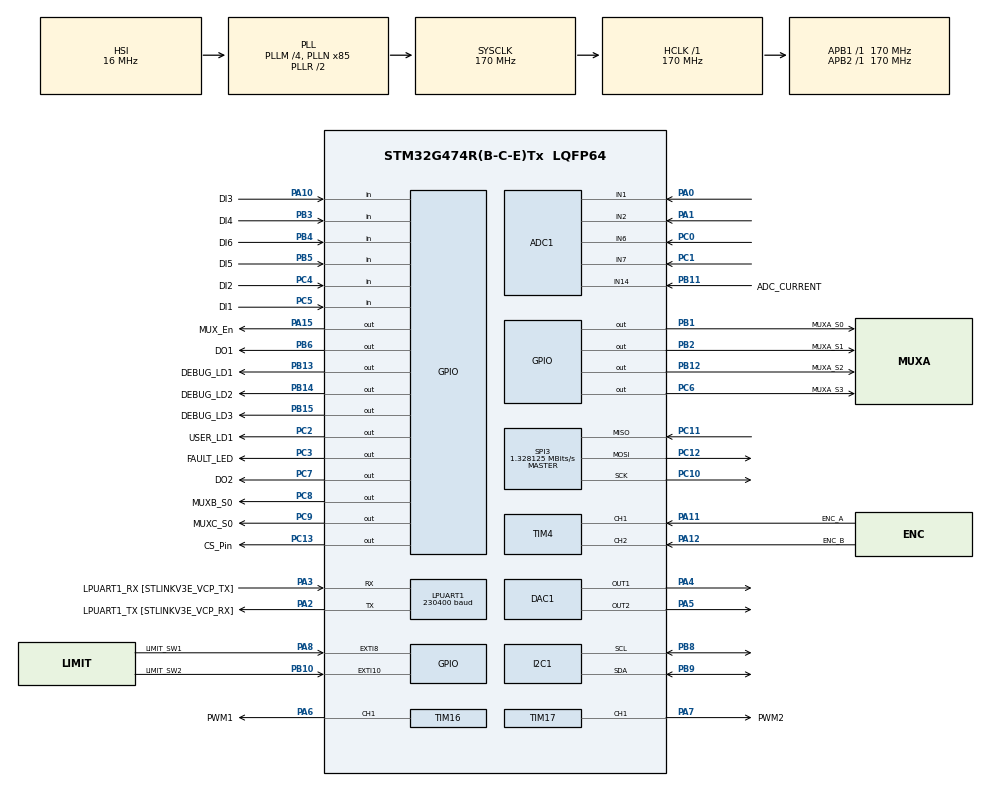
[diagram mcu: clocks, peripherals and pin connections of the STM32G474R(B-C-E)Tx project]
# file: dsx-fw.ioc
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ADC1.Channel-10\#ChannelRegularConversion=ADC_CHANNEL_14
ADC1.Channel-11\#ChannelRegularConversion=ADC_CHANNEL_TEMPSENSOR_ADC1
ADC1.Channel-6\#ChannelRegularConversion=ADC_CHANNEL_1
ADC1.Channel-7\#ChannelRegularConversion=ADC_CHANNEL_2
ADC1.Channel-8\#ChannelRegularConversion=ADC_CHANNEL_6
ADC1.Channel-9\#ChannelRegularConversion=ADC_CHANNEL_7
ADC1.ContinuousConvMode=ENABLE
ADC1.DMAContinuousRequests=ENABLE
ADC1.NbrOfConversion=6
ADC1.NbrOfConversionFlag=1
ADC1.OffsetNumber-10\#ChannelRegularConversion=ADC_OFFSET_NONE
ADC1.OffsetNumber-11\#ChannelRegularConversion=ADC_OFFSET_NONE
ADC1.OffsetNumber-6\#ChannelRegularConversion=ADC_OFFSET_NONE
ADC1.OffsetNumber-7\#ChannelRegularConversion=ADC_OFFSET_NONE
ADC1.OffsetNumber-8\#ChannelRegularConversion=ADC_OFFSET_NONE
ADC1.OffsetNumber-9\#ChannelRegularConversion=ADC_OFFSET_NONE
ADC1.OversamplingMode=ENABLE
ADC1.Rank-10\#ChannelRegularConversion=5
ADC1.Rank-11\#ChannelRegularConversion=6
ADC1.Rank-6\#ChannelRegularConversion=1
ADC1.Rank-7\#ChannelRegularConversion=2
ADC1.Rank-8\#ChannelRegularConversion=3
ADC1.Rank-9\#ChannelRegularConversion=4
ADC1.SamplingTime-10\#ChannelRegularConversion=ADC_SAMPLETIME_47CYCLES_5
ADC1.SamplingTime-11\#ChannelRegularConversion=ADC_SAMPLETIME_47CYCLES_5
ADC1.SamplingTime-6\#ChannelRegularConversion=ADC_SAMPLETIME_47CYCLES_5
ADC1.SamplingTime-7\#ChannelRegularConversion=ADC_SAMPLETIME_47CYCLES_5
ADC1.SamplingTime-8\#ChannelRegularConversion=ADC_SAMPLETIME_47CYCLES_5
ADC1.SamplingTime-9\#ChannelRegularConversion=ADC_SAMPLETIME_47CYCLES_5
ADC1.master=1
DAC1.DAC_Channel-DAC_OUT2=DAC_CHANNEL_2
DAC1.DAC_OutputBuffer-DAC_OUT1=DAC_OUTPUTBUFFER_ENABLE
Dma.ADC1.2.Direction=DMA_PERIPH_TO_MEMORY
Dma.ADC1.2.EventEnable=DISABLE
Dma.ADC1.2.Instance=DMA1_Channel3
Dma.ADC1.2.MemDataAlignment=DMA_MDATAALIGN_WORD
Dma.ADC1.2.MemInc=DMA_MINC_ENABLE
Dma.ADC1.2.Mode=DMA_CIRCULAR
Dma.ADC1.2.PeriphDataAlignment=DMA_PDATAALIGN_WORD
Dma.ADC1.2.PeriphInc=DMA_PINC_DISABLE
Dma.ADC1.2.Polarity=HAL_DMAMUX_REQ_GEN_RISING
Dma.ADC1.2.Priority=DMA_PRIORITY_LOW
Dma.ADC1.2.RequestNumber=1
Dma.ADC1.2.SignalID=NONE
Dma.ADC1.2.SyncEnable=DISABLE
Dma.ADC1.2.SyncPolarity=HAL_DMAMUX_SYNC_NO_EVENT
Dma.ADC1.2.SyncRequestNumber=1
Dma.ADC1.2.SyncSignalID=NONE
Dma.LPUART1_RX.0.Direction=DMA_PERIPH_TO_MEMORY
Dma.LPUART1_RX.0.EventEnable=DISABLE
Dma.LPUART1_RX.0.Instance=DMA1_Channel1
Dma.LPUART1_RX.0.MemDataAlignment=DMA_MDATAALIGN_BYTE
Dma.LPUART1_RX.0.MemInc=DMA_MINC_ENABLE
Dma.LPUART1_RX.0.Mode=DMA_CIRCULAR
Dma.LPUART1_RX.0.PeriphDataAlignment=DMA_PDATAALIGN_BYTE
Dma.LPUART1_RX.0.PeriphInc=DMA_PINC_DISABLE
Dma.LPUART1_RX.0.Polarity=HAL_DMAMUX_REQ_GEN_RISING
Dma.LPUART1_RX.0.Priority=DMA_PRIORITY_LOW
Dma.LPUART1_RX.0.RequestNumber=1
Dma.LPUART1_RX.0.SignalID=NONE
Dma.LPUART1_RX.0.SyncEnable=DISABLE
Dma.LPUART1_RX.0.SyncPolarity=HAL_DMAMUX_SYNC_NO_EVENT
Dma.LPUART1_RX.0.SyncRequestNumber=1
Dma.LPUART1_RX.0.SyncSignalID=NONE
Dma.LPUART1_TX.1.Direction=DMA_MEMORY_TO_PERIPH
Dma.LPUART1_TX.1.EventEnable=DISABLE
Dma.LPUART1_TX.1.Instance=DMA1_Channel2
Dma.LPUART1_TX.1.MemDataAlignment=DMA_MDATAALIGN_BYTE
Dma.LPUART1_TX.1.MemInc=DMA_MINC_ENABLE
Dma.LPUART1_TX.1.Mode=DMA_NORMAL
Dma.LPUART1_TX.1.PeriphDataAlignment=DMA_PDATAALIGN_BYTE
Dma.LPUART1_TX.1.PeriphInc=DMA_PINC_DISABLE
Dma.LPUART1_TX.1.Polarity=HAL_DMAMUX_REQ_GEN_RISING
Dma.LPUART1_TX.1.Priority=DMA_PRIORITY_LOW
Dma.LPUART1_TX.1.RequestNumber=1
Dma.LPUART1_TX.1.SignalID=NONE
Dma.LPUART1_TX.1.SyncEnable=DISABLE
Dma.LPUART1_TX.1.SyncPolarity=HAL_DMAMUX_SYNC_NO_EVENT
Dma.LPUART1_TX.1.SyncRequestNumber=1
Dma.LPUART1_TX.1.SyncSignalID=NONE
Dma.Request0=LPUART1_RX
Dma.Request1=LPUART1_TX
Dma.Request2=ADC1
I2C1.Timing=0x30A0A7FB
LPUART1.BaudRate=230400
LPUART1.WordLength=UART_WORDLENGTH_8B
Mcu.Family=STM32G4
Mcu.Name=STM32G474R(B-C-E)Tx
Mcu.Package=LQFP64
NVIC.DMA1_Channel1_IRQn=true\:0\:0\:false\:false\:true\:false\:true
NVIC.DMA1_Channel2_IRQn=true\:0\:0\:false\:false\:true\:false\:true
NVIC.DMA1_Channel3_IRQn=true\:0\:0\:false\:false\:true\:false\:true
NVIC.EXTI15_10_IRQn=true\:0\:0\:false\:false\:true\:true\:true
NVIC.EXTI9_5_IRQn=true\:0\:0\:false\:false\:true\:true\:true
NVIC.LPUART1_IRQn=true\:0\:0\:false\:false\:true\:true\:true
NVIC.PriorityGroup=NVIC_PRIORITYGROUP_4
NVIC.TIM2_IRQn=true\:0\:0\:false\:false\:true\:true\:true
NVIC.TIM5_IRQn=true\:0\:0\:false\:false\:true\:true\:true
NVIC.TIM7_DAC_IRQn=true\:0\:0\:false\:false\:true\:true\:true
PA0.Mode=IN1-Single-Ended
PA0.Signal=ADC1_IN1
PA1.Mode=IN2-Single-Ended
PA1.Signal=ADC1_IN2
PA10.GPIO_Label=DI3
PA10.Signal=GPIO_Input
PA11.GPIO_Label=ENC_A
PA11.Signal=S_TIM4_CH1
PA12.GPIO_Label=ENC_B
PA12.Signal=S_TIM4_CH2
PA13.GPIO_Label=T_SWDIO
PA13.Mode=Serial_Wire
PA13.Signal=SYS_JTMS-SWDIO
PA14.GPIO_Label=T_SWCLK
PA14.Mode=Serial_Wire
PA14.Signal=SYS_JTCK-SWCLK
PA15.GPIO_Label=MUX_En
PA15.Signal=GPIO_Output
PA2.GPIO_Label=LPUART1_TX [STLINKV3E_VCP_RX]
PA2.Mode=Asynchronous
PA2.Signal=LPUART1_TX
PA3.GPIO_Label=LPUART1_RX [STLINKV3E_VCP_TX]
PA3.Mode=Asynchronous
PA3.Signal=LPUART1_RX
PA4.Signal=COMP_DAC11_group
PA5.Signal=COMP_DAC12_group
PA6.GPIO_Label=PWM1
PA6.Signal=S_TIM16_CH1
PA7.GPIO_Label=PWM2
PA7.Signal=S_TIM17_CH1
PA8.GPIO_Label=LIMIT_SW1
PA8.GPIO_PuPd=GPIO_PULLDOWN
PA8.Signal=GPXTI8
PB1.GPIO_Label=MUXA_S0
PB1.Signal=GPIO_Output
PB10.GPIO_Label=LIMIT_SW2
PB10.GPIO_PuPd=GPIO_PULLDOWN
PB10.Signal=GPXTI10
PB11.GPIO_Label=ADC_CURRENT
PB11.Mode=IN14-Single-Ended
PB11.Signal=ADC1_IN14
PB12.GPIO_Label=MUXA_S2
PB12.Signal=GPIO_Output
PB13.GPIO_Label=DEBUG_LD1
PB13.Signal=GPIO_Output
PB14.GPIO_Label=DEBUG_LD2
PB14.Signal=GPIO_Output
PB15.GPIO_Label=DEBUG_LD3
PB15.Signal=GPIO_Output
PB2.GPIO_Label=MUXA_S1
PB2.Signal=GPIO_Output
PB3.GPIO_Label=DI4
PB3.Signal=GPIO_Input
PB4.GPIO_Label=DI6
PB4.Signal=GPIO_Input
PB5.GPIO_Label=DI5
PB5.Signal=GPIO_Input
PB6.GPIO_Label=DO1
PB6.Signal=GPIO_Output
PB8-BOOT0.Mode=I2C
PB8-BOOT0.Signal=I2C1_SCL
PB9.Mode=I2C
PB9.Signal=I2C1_SDA
PC0.Mode=IN6-Single-Ended
PC0.Signal=ADC1_IN6
PC1.Mode=IN7-Single-Ended
PC1.Signal=ADC1_IN7
PC10.Mode=Full_Duplex_Master
PC10.Signal=SPI3_SCK
PC11.Mode=Full_Duplex_Master
PC11.Signal=SPI3_MISO
PC12.Mode=Full_Duplex_Master
PC12.Signal=SPI3_MOSI
PC13.GPIO_Label=CS_Pin
PC13.GPIO_PuPd=GPIO_NOPULL
PC13.Signal=GPIO_Output
PC14-OSC32_IN.Mode=LSE-External-Oscillator
PC14-OSC32_IN.Signal=RCC_OSC32_IN
PC15-OSC32_OUT.Mode=LSE-External-Oscillator
PC15-OSC32_OUT.Signal=RCC_OSC32_OUT
PC2.GPIO_Label=USER_LD1
PC2.Signal=GPIO_Output
PC3.GPIO_Label=FAULT_LED
PC3.Signal=GPIO_Output
PC4.GPIO_Label=DI2
PC4.Signal=GPIO_Input
PC5.GPIO_Label=DI1
PC5.Signal=GPIO_Input
PC6.GPIO_Label=MUXA_S3
PC6.Signal=GPIO_Output
PC7.GPIO_Label=DO2
PC7.Signal=GPIO_Output
PC8.GPIO_Label=MUXB_S0
PC8.Signal=GPIO_Output
PC9.GPIO_Label=MUXC_S0
PC9.Signal=GPIO_Output
PF0-OSC_IN.Mode=HSE-External-Oscillator
PF0-OSC_IN.Signal=RCC_OSC_IN
PF1-OSC_OUT.Mode=HSE-External-Oscillator
PF1-OSC_OUT.Signal=RCC_OSC_OUT
ProjectManager.HeapSize=0x200
ProjectManager.StackSize=0x400
ProjectManager.TargetToolchain=STM32CubeIDE
RCC.ADC12Freq_Value=170000000
RCC.ADC345Freq_Value=170000000
RCC.AHBFreq_Value=170000000
RCC.APB1Freq_Value=170000000
RCC.APB1TimFreq_Value=170000000
RCC.APB2Freq_Value=170000000
RCC.APB2TimFreq_Value=170000000
RCC.CortexFreq_Value=170000000
RCC.EXTERNAL_CLOCK_VALUE=12288000
RCC.HCLKFreq_Value=170000000
RCC.HSE_VALUE=24000000
RCC.HSI48_VALUE=48000000
RCC.HSI_VALUE=16000000
RCC.LPUART1CLockSelection=RCC_LPUART1CLKSOURCE_SYSCLK
RCC.PLLM=RCC_PLLM_DIV4
RCC.PLLN=85
RCC.RTCClockSelection=RCC_RTCCLKSOURCE_LSE
RCC.SYSCLKFreq_VALUE=170000000
RCC.SYSCLKSource=RCC_SYSCLKSOURCE_PLLCLK
RCC.USBFreq_Value=170000000
RCC.VCOOutputFreq_Value=340000000
SH.COMP_DAC11_group.0=DAC1_OUT1,DAC_OUT1
SH.COMP_DAC12_group.0=DAC1_OUT2,DAC_OUT2
SH.S_TIM16_CH1.0=TIM16_CH1,PWM Generation1 CH1
SH.S_TIM17_CH1.0=TIM17_CH1,PWM Generation1 CH1
SH.S_TIM4_CH1.0=TIM4_CH1,Encoder_Interface
SH.S_TIM4_CH2.0=TIM4_CH2,Encoder_Interface
SPI3.BaudRatePrescaler=SPI_BAUDRATEPRESCALER_128
SPI3.CalculateBaudRate=1.328125 MBits/s
SPI3.DataSize=SPI_DATASIZE_8BIT
SPI3.Direction=SPI_DIRECTION_2LINES
SPI3.Mode=SPI_MODE_MASTER
SPI3.VirtualType=VM_MASTER
TIM16.Channel=TIM_CHANNEL_1
TIM16.PeriodNoDither=100-1
TIM17.Channel=TIM_CHANNEL_1
TIM17.PeriodNoDither=100-1
TIM2.PeriodNoDither=10000-1
TIM2.Prescaler=170-1
TIM2.TIM_MasterOutputTrigger=TIM_TRGO_RESET
TIM5.PeriodNoDither=2500-1
TIM5.Prescaler=170-1
TIM7.PeriodNoDither=25000-1
TIM7.Prescaler=1700-1
VP_ADC1_TempSens_Input.Mode=IN-TempSens
VP_SYS_VS_DBSignals.Mode=DisableDeadBatterySignals
VP_TIM16_VS_ClockSourceINT.Mode=Enable_Timer
VP_TIM17_VS_ClockSourceINT.Mode=Enable_Timer
VP_TIM2_VS_ClockSourceINT.Mode=Internal
VP_TIM5_VS_ClockSourceINT.Mode=Internal
VP_TIM7_VS_ClockSourceINT.Mode=Enable_Timer
board=NUCLEO-G474RE

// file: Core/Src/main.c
/* USER CODE BEGIN Header */
/**
 ******************************************************************************
 * @file           : main.c
 * @brief          : Main program body
 ******************************************************************************
 * @attention
 *
 * <h2><center>&copy; Copyright (c) 2021 STMicroelectronics.
 * All rights reserved.</center></h2>
 *
 * This software component is licensed by ST under BSD 3-Clause license,
 * the "License"; You may not use this file except in compliance with the
 * License. You may obtain a copy of the License at:
 *                        opensource.org/licenses/BSD-3-Clause
 *
 ******************************************************************************
 */
/* USER CODE END Header */
#include "main.h"

/* USER CODE BEGIN Includes */
#include "serial.h"
#include "dsx_data_structure.h"
#include "command.h"
#include "channel.h"
#include "validate.h"
#include "PWM.h"
#include <stdbool.h>
#include "adc.h"
#include "DAC.h"
#include <stdint.h>
#include "safety.h"
#include "board_defines.h"
#include "Encoder.h"
#include "i2c.h"
#include "Servo.h"
#include "SPI.h"

/* USER CODE END Includes */

ADC_HandleTypeDef hadc1;
DMA_HandleTypeDef hdma_adc1;

DAC_HandleTypeDef hdac1;

I2C_HandleTypeDef hi2c1;

UART_HandleTypeDef hlpuart1;
DMA_HandleTypeDef hdma_lpuart1_rx;
DMA_HandleTypeDef hdma_lpuart1_tx;

SPI_HandleTypeDef hspi3;

TIM_HandleTypeDef htim2;
TIM_HandleTypeDef htim4;
TIM_HandleTypeDef htim5;
TIM_HandleTypeDef htim7;
TIM_HandleTypeDef htim16;
TIM_HandleTypeDef htim17;

/* USER CODE BEGIN PV */
extern uint8_t state;
/* USER CODE END PV */

void SystemClock_Config(void);
static void MX_GPIO_Init(void);
static void MX_DMA_Init(void);
static void MX_LPUART1_UART_Init(void);
static void MX_DAC1_Init(void);
static void MX_TIM16_Init(void);
static void MX_TIM17_Init(void);
static void MX_ADC1_Init(void);
static void MX_SPI3_Init(void);
static void MX_I2C1_Init(void);
static void MX_TIM4_Init(void);
static void MX_TIM2_Init(void);
static void MX_TIM5_Init(void);
static void MX_TIM7_Init(void);

/* USER CODE BEGIN 0 */

// github aye
extern bool serial_available;

/* USER CODE END 0 */

int main(void)
{
  /* USER CODE BEGIN 1 */

	// Initialize DSX data structure
	volatile DSX_data_t dsx_data;
	DSX_data_init(&dsx_data);
  /* USER CODE END 1 */

  /* MCU Configuration--------------------------------------------------------*/

  /* Reset of all peripherals, Initializes the Flash interface and the Systick. */
  HAL_Init();

  /* Configure the system clock */
  SystemClock_Config();

  /* Initialize all configured peripherals */
  MX_GPIO_Init();
  MX_DMA_Init();
  MX_LPUART1_UART_Init();
  MX_DAC1_Init();
  MX_TIM16_Init();
  MX_TIM17_Init();
  MX_ADC1_Init();
  MX_SPI3_Init();
  MX_I2C1_Init();
  MX_TIM4_Init();
  MX_TIM2_Init();
  MX_TIM5_Init();
  MX_TIM7_Init();
  /* USER CODE BEGIN 2 */

	// Initialize PWM driver
	initPWM();

	// Receive Serial and store into buffer
	Serial_Receive_DMA();

	// Start ADC
	Start_ADC();

	// Start DAC
	DAC_init();

	// init safety driver
	safety_init();

	// Start encoder driver
	Encoder_Start();

	// Start SPI
	SPI_Init();

  // Start I2C Driver
	I2C_Init();

  /* USER CODE END 2 */

  /* Infinite loop */
	while (1)
	{

    /* USER CODE BEGIN 3 */
		while(state==STATE_NORMAL)
		{

			if(serial_available)
			{
				// update dsx data based on received buffer
				parse_buffer_to_dsx_data(&dsx_data);

				// execute commands
				execute_command(&dsx_data);
			}

		}

		// Error Handler. If we enter here, then a fault occured.
		Error_Handler();

	}
  /* USER CODE END 3 */
}

void SystemClock_Config(void)
{
  RCC_OscInitTypeDef RCC_OscInitStruct = {0};
  RCC_ClkInitTypeDef RCC_ClkInitStruct = {0};
  RCC_PeriphCLKInitTypeDef PeriphClkInit = {0};

  /** Configure the main internal regulator output voltage
  */
  HAL_PWREx_ControlVoltageScaling(PWR_REGULATOR_VOLTAGE_SCALE1_BOOST);
  /** Initializes the RCC Oscillators according to the specified parameters
  * in the RCC_OscInitTypeDef structure.
  */
  RCC_OscInitStruct.OscillatorType = RCC_OSCILLATORTYPE_HSI;
  RCC_OscInitStruct.HSIState = RCC_HSI_ON;
  RCC_OscInitStruct.HSICalibrationValue = RCC_HSICALIBRATION_DEFAULT;
  RCC_OscInitStruct.PLL.PLLState = RCC_PLL_ON;
  RCC_OscInitStruct.PLL.PLLSource = RCC_PLLSOURCE_HSI;
  RCC_OscInitStruct.PLL.PLLM = RCC_PLLM_DIV4;
  RCC_OscInitStruct.PLL.PLLN = 85;
  RCC_OscInitStruct.PLL.PLLP = RCC_PLLP_DIV2;
  RCC_OscInitStruct.PLL.PLLQ = RCC_PLLQ_DIV2;
  RCC_OscInitStruct.PLL.PLLR = RCC_PLLR_DIV2;
  if (HAL_RCC_OscConfig(&RCC_OscInitStruct) != HAL_OK)
  {
    Error_Handler();
  }
  /** Initializes the CPU, AHB and APB buses clocks
  */
  RCC_ClkInitStruct.ClockType = RCC_CLOCKTYPE_HCLK|RCC_CLOCKTYPE_SYSCLK
                              |RCC_CLOCKTYPE_PCLK1|RCC_CLOCKTYPE_PCLK2;
  RCC_ClkInitStruct.SYSCLKSource = RCC_SYSCLKSOURCE_PLLCLK;
  RCC_ClkInitStruct.AHBCLKDivider = RCC_SYSCLK_DIV1;
  RCC_ClkInitStruct.APB1CLKDivider = RCC_HCLK_DIV1;
  RCC_ClkInitStruct.APB2CLKDivider = RCC_HCLK_DIV1;

  if (HAL_RCC_ClockConfig(&RCC_ClkInitStruct, FLASH_LATENCY_4) != HAL_OK)
  {
    Error_Handler();
  }
  /** Initializes the peripherals clocks
  */
  PeriphClkInit.PeriphClockSelection = RCC_PERIPHCLK_LPUART1|RCC_PERIPHCLK_I2C1
                              |RCC_PERIPHCLK_ADC12;
  PeriphClkInit.Lpuart1ClockSelection = RCC_LPUART1CLKSOURCE_SYSCLK;
  PeriphClkInit.I2c1ClockSelection = RCC_I2C1CLKSOURCE_PCLK1;
  PeriphClkInit.Adc12ClockSelection = RCC_ADC12CLKSOURCE_SYSCLK;
  if (HAL_RCCEx_PeriphCLKConfig(&PeriphClkInit) != HAL_OK)
  {
    Error_Handler();
  }
}

static void MX_ADC1_Init(void)
{

  ADC_MultiModeTypeDef multimode = {0};
  ADC_ChannelConfTypeDef sConfig = {0};

  /** Common config
  */
  hadc1.Instance = ADC1;
  hadc1.Init.ClockPrescaler = ADC_CLOCK_SYNC_PCLK_DIV4;
  hadc1.Init.Resolution = ADC_RESOLUTION_12B;
  hadc1.Init.DataAlign = ADC_DATAALIGN_RIGHT;
  hadc1.Init.GainCompensation = 0;
  hadc1.Init.ScanConvMode = ADC_SCAN_ENABLE;
  hadc1.Init.EOCSelection = ADC_EOC_SINGLE_CONV;
  hadc1.Init.LowPowerAutoWait = DISABLE;
  hadc1.Init.ContinuousConvMode = ENABLE;
  hadc1.Init.NbrOfConversion = 6;
  hadc1.Init.DiscontinuousConvMode = DISABLE;
  hadc1.Init.ExternalTrigConv = ADC_SOFTWARE_START;
  hadc1.Init.ExternalTrigConvEdge = ADC_EXTERNALTRIGCONVEDGE_NONE;
  hadc1.Init.DMAContinuousRequests = ENABLE;
  hadc1.Init.Overrun = ADC_OVR_DATA_PRESERVED;
  hadc1.Init.OversamplingMode = ENABLE;
  hadc1.Init.Oversampling.Ratio = ADC_OVERSAMPLING_RATIO_2;
  hadc1.Init.Oversampling.RightBitShift = ADC_RIGHTBITSHIFT_NONE;
  hadc1.Init.Oversampling.TriggeredMode = ADC_TRIGGEREDMODE_SINGLE_TRIGGER;
  hadc1.Init.Oversampling.OversamplingStopReset = ADC_REGOVERSAMPLING_CONTINUED_MODE;
  if (HAL_ADC_Init(&hadc1) != HAL_OK)
  {
    Error_Handler();
  }
  /** Configure the ADC multi-mode
  */
  multimode.Mode = ADC_MODE_INDEPENDENT;
  if (HAL_ADCEx_MultiModeConfigChannel(&hadc1, &multimode) != HAL_OK)
  {
    Error_Handler();
  }
  /** Configure Regular Channel
  */
  sConfig.Channel = ADC_CHANNEL_1;
  sConfig.Rank = ADC_REGULAR_RANK_1;
  sConfig.SamplingTime = ADC_SAMPLETIME_47CYCLES_5;
  sConfig.SingleDiff = ADC_SINGLE_ENDED;
  sConfig.OffsetNumber = ADC_OFFSET_NONE;
  sConfig.Offset = 0;
  if (HAL_ADC_ConfigChannel(&hadc1, &sConfig) != HAL_OK)
  {
    Error_Handler();
  }
  /** Configure Regular Channel
  */
  sConfig.Channel = ADC_CHANNEL_2;
  sConfig.Rank = ADC_REGULAR_RANK_2;
  if (HAL_ADC_ConfigChannel(&hadc1, &sConfig) != HAL_OK)
  {
    Error_Handler();
  }
  /** Configure Regular Channel
  */
  sConfig.Channel = ADC_CHANNEL_6;
  sConfig.Rank = ADC_REGULAR_RANK_3;
  if (HAL_ADC_ConfigChannel(&hadc1, &sConfig) != HAL_OK)
  {
    Error_Handler();
  }
  /** Configure Regular Channel
  */
  sConfig.Channel = ADC_CHANNEL_7;
  sConfig.Rank = ADC_REGULAR_RANK_4;
  if (HAL_ADC_ConfigChannel(&hadc1, &sConfig) != HAL_OK)
  {
    Error_Handler();
  }
  /** Configure Regular Channel
  */
  sConfig.Channel = ADC_CHANNEL_14;
  sConfig.Rank = ADC_REGULAR_RANK_5;
  if (HAL_ADC_ConfigChannel(&hadc1, &sConfig) != HAL_OK)
  {
    Error_Handler();
  }
  /** Configure Regular Channel
  */
  sConfig.Channel = ADC_CHANNEL_TEMPSENSOR_ADC1;
  sConfig.Rank = ADC_REGULAR_RANK_6;
  if (HAL_ADC_ConfigChannel(&hadc1, &sConfig) != HAL_OK)
  {
    Error_Handler();
  }

}

static void MX_DAC1_Init(void)
{

  DAC_ChannelConfTypeDef sConfig = {0};

  /** DAC Initialization
  */
  hdac1.Instance = DAC1;
  if (HAL_DAC_Init(&hdac1) != HAL_OK)
  {
    Error_Handler();
  }
  /** DAC channel OUT1 config
  */
  sConfig.DAC_HighFrequency = DAC_HIGH_FREQUENCY_INTERFACE_MODE_AUTOMATIC;
  sConfig.DAC_DMADoubleDataMode = DISABLE;
  sConfig.DAC_SignedFormat = DISABLE;
  sConfig.DAC_SampleAndHold = DAC_SAMPLEANDHOLD_DISABLE;
  sConfig.DAC_Trigger = DAC_TRIGGER_NONE;
  sConfig.DAC_Trigger2 = DAC_TRIGGER_NONE;
  sConfig.DAC_OutputBuffer = DAC_OUTPUTBUFFER_ENABLE;
  sConfig.DAC_ConnectOnChipPeripheral = DAC_CHIPCONNECT_EXTERNAL;
  sConfig.DAC_UserTrimming = DAC_TRIMMING_FACTORY;
  if (HAL_DAC_ConfigChannel(&hdac1, &sConfig, DAC_CHANNEL_1) != HAL_OK)
  {
    Error_Handler();
  }
  /** DAC channel OUT2 config
  */
  sConfig.DAC_ConnectOnChipPeripheral = DAC_CHIPCONNECT_EXTERNAL;
  if (HAL_DAC_ConfigChannel(&hdac1, &sConfig, DAC_CHANNEL_2) != HAL_OK)
  {
    Error_Handler();
  }

}

static void MX_I2C1_Init(void)
{

  hi2c1.Instance = I2C1;
  hi2c1.Init.Timing = 0x30A0A7FB;
  hi2c1.Init.OwnAddress1 = 0;
  hi2c1.Init.AddressingMode = I2C_ADDRESSINGMODE_7BIT;
  hi2c1.Init.DualAddressMode = I2C_DUALADDRESS_DISABLE;
  hi2c1.Init.OwnAddress2 = 0;
  hi2c1.Init.OwnAddress2Masks = I2C_OA2_NOMASK;
  hi2c1.Init.GeneralCallMode = I2C_GENERALCALL_DISABLE;
  hi2c1.Init.NoStretchMode = I2C_NOSTRETCH_DISABLE;
  if (HAL_I2C_Init(&hi2c1) != HAL_OK)
  {
    Error_Handler();
  }
  /** Configure Analogue filter
  */
  if (HAL_I2CEx_ConfigAnalogFilter(&hi2c1, I2C_ANALOGFILTER_ENABLE) != HAL_OK)
  {
    Error_Handler();
  }
  /** Configure Digital filter
  */
  if (HAL_I2CEx_ConfigDigitalFilter(&hi2c1, 0) != HAL_OK)
  {
    Error_Handler();
  }

}

static void MX_LPUART1_UART_Init(void)
{

  hlpuart1.Instance = LPUART1;
  hlpuart1.Init.BaudRate = 230400;
  hlpuart1.Init.WordLength = UART_WORDLENGTH_8B;
  hlpuart1.Init.StopBits = UART_STOPBITS_1;
  hlpuart1.Init.Parity = UART_PARITY_NONE;
  hlpuart1.Init.Mode = UART_MODE_TX_RX;
  hlpuart1.Init.HwFlowCtl = UART_HWCONTROL_NONE;
  hlpuart1.Init.OneBitSampling = UART_ONE_BIT_SAMPLE_DISABLE;
  hlpuart1.Init.ClockPrescaler = UART_PRESCALER_DIV1;
  hlpuart1.AdvancedInit.AdvFeatureInit = UART_ADVFEATURE_NO_INIT;
  if (HAL_UART_Init(&hlpuart1) != HAL_OK)
  {
    Error_Handler();
  }
  if (HAL_UARTEx_SetTxFifoThreshold(&hlpuart1, UART_TXFIFO_THRESHOLD_1_8) != HAL_OK)
  {
    Error_Handler();
  }
  if (HAL_UARTEx_SetRxFifoThreshold(&hlpuart1, UART_RXFIFO_THRESHOLD_1_8) != HAL_OK)
  {
    Error_Handler();
  }
  if (HAL_UARTEx_DisableFifoMode(&hlpuart1) != HAL_OK)
  {
    Error_Handler();
  }

}

static void MX_SPI3_Init(void)
{

  /* SPI3 parameter configuration*/
  hspi3.Instance = SPI3;
  hspi3.Init.Mode = SPI_MODE_MASTER;
  hspi3.Init.Direction = SPI_DIRECTION_2LINES;
  hspi3.Init.DataSize = SPI_DATASIZE_8BIT;
  hspi3.Init.CLKPolarity = SPI_POLARITY_LOW;
  hspi3.Init.CLKPhase = SPI_PHASE_1EDGE;
  hspi3.Init.NSS = SPI_NSS_SOFT;
  hspi3.Init.BaudRatePrescaler = SPI_BAUDRATEPRESCALER_128;
  hspi3.Init.FirstBit = SPI_FIRSTBIT_MSB;
  hspi3.Init.TIMode = SPI_TIMODE_DISABLE;
  hspi3.Init.CRCCalculation = SPI_CRCCALCULATION_DISABLE;
  hspi3.Init.CRCPolynomial = 7;
  hspi3.Init.CRCLength = SPI_CRC_LENGTH_DATASIZE;
  hspi3.Init.NSSPMode = SPI_NSS_PULSE_ENABLE;
  if (HAL_SPI_Init(&hspi3) != HAL_OK)
  {
    Error_Handler();
  }

}

static void MX_TIM2_Init(void)
{

  TIM_ClockConfigTypeDef sClockSourceConfig = {0};
  TIM_MasterConfigTypeDef sMasterConfig = {0};

  htim2.Instance = TIM2;
  htim2.Init.Prescaler = 170-1;
  htim2.Init.CounterMode = TIM_COUNTERMODE_UP;
  htim2.Init.Period = 9999;
  htim2.Init.ClockDivision = TIM_CLOCKDIVISION_DIV1;
  htim2.Init.AutoReloadPreload = TIM_AUTORELOAD_PRELOAD_DISABLE;
  if (HAL_TIM_Base_Init(&htim2) != HAL_OK)
  {
    Error_Handler();
  }
  sClockSourceConfig.ClockSource = TIM_CLOCKSOURCE_INTERNAL;
  if (HAL_TIM_ConfigClockSource(&htim2, &sClockSourceConfig) != HAL_OK)
  {
    Error_Handler();
  }
  sMasterConfig.MasterOutputTrigger = TIM_TRGO_RESET;
  sMasterConfig.MasterSlaveMode = TIM_MASTERSLAVEMODE_DISABLE;
  if (HAL_TIMEx_MasterConfigSynchronization(&htim2, &sMasterConfig) != HAL_OK)
  {
    Error_Handler();
  }

}

static void MX_TIM4_Init(void)
{

  TIM_Encoder_InitTypeDef sConfig = {0};
  TIM_MasterConfigTypeDef sMasterConfig = {0};

  htim4.Instance = TIM4;
  htim4.Init.Prescaler = 0;
  htim4.Init.CounterMode = TIM_COUNTERMODE_UP;
  htim4.Init.Period = 65535;
  htim4.Init.ClockDivision = TIM_CLOCKDIVISION_DIV1;
  htim4.Init.AutoReloadPreload = TIM_AUTORELOAD_PRELOAD_DISABLE;
  sConfig.EncoderMode = TIM_ENCODERMODE_TI1;
  sConfig.IC1Polarity = TIM_ICPOLARITY_RISING;
  sConfig.IC1Selection = TIM_ICSELECTION_DIRECTTI;
  sConfig.IC1Prescaler = TIM_ICPSC_DIV1;
  sConfig.IC1Filter = 0;
  sConfig.IC2Polarity = TIM_ICPOLARITY_RISING;
  sConfig.IC2Selection = TIM_ICSELECTION_DIRECTTI;
  sConfig.IC2Prescaler = TIM_ICPSC_DIV1;
  sConfig.IC2Filter = 0;
  if (HAL_TIM_Encoder_Init(&htim4, &sConfig) != HAL_OK)
  {
    Error_Handler();
  }
  sMasterConfig.MasterOutputTrigger = TIM_TRGO_RESET;
  sMasterConfig.MasterSlaveMode = TIM_MASTERSLAVEMODE_DISABLE;
  if (HAL_TIMEx_MasterConfigSynchronization(&htim4, &sMasterConfig) != HAL_OK)
  {
    Error_Handler();
  }

}

static void MX_TIM5_Init(void)
{

  TIM_ClockConfigTypeDef sClockSourceConfig = {0};
  TIM_MasterConfigTypeDef sMasterConfig = {0};

  htim5.Instance = TIM5;
  htim5.Init.Prescaler = 170-1;
  htim5.Init.CounterMode = TIM_COUNTERMODE_UP;
  htim5.Init.Period = 2499;
  htim5.Init.ClockDivision = TIM_CLOCKDIVISION_DIV1;
  htim5.Init.AutoReloadPreload = TIM_AUTORELOAD_PRELOAD_DISABLE;
  if (HAL_TIM_Base_Init(&htim5) != HAL_OK)
  {
    Error_Handler();
  }
  sClockSourceConfig.ClockSource = TIM_CLOCKSOURCE_INTERNAL;
  if (HAL_TIM_ConfigClockSource(&htim5, &sClockSourceConfig) != HAL_OK)
  {
    Error_Handler();
  }
  sMasterConfig.MasterOutputTrigger = TIM_TRGO_RESET;
  sMasterConfig.MasterSlaveMode = TIM_MASTERSLAVEMODE_DISABLE;
  if (HAL_TIMEx_MasterConfigSynchronization(&htim5, &sMasterConfig) != HAL_OK)
  {
    Error_Handler();
  }

}

static void MX_TIM7_Init(void)
{

  TIM_MasterConfigTypeDef sMasterConfig = {0};

  htim7.Instance = TIM7;
  htim7.Init.Prescaler = 1700-1;
  htim7.Init.CounterMode = TIM_COUNTERMODE_UP;
  htim7.Init.Period = 24999;
  htim7.Init.AutoReloadPreload = TIM_AUTORELOAD_PRELOAD_DISABLE;
  if (HAL_TIM_Base_Init(&htim7) != HAL_OK)
  {
    Error_Handler();
  }
  sMasterConfig.MasterOutputTrigger = TIM_TRGO_RESET;
  sMasterConfig.MasterSlaveMode = TIM_MASTERSLAVEMODE_DISABLE;
  if (HAL_TIMEx_MasterConfigSynchronization(&htim7, &sMasterConfig) != HAL_OK)
  {
    Error_Handler();
  }

}

static void MX_TIM16_Init(void)
{

  TIM_OC_InitTypeDef sConfigOC = {0};
  TIM_BreakDeadTimeConfigTypeDef sBreakDeadTimeConfig = {0};

  htim16.Instance = TIM16;
  htim16.Init.Prescaler = 0;
  htim16.Init.CounterMode = TIM_COUNTERMODE_UP;
  htim16.Init.Period = 99;
  htim16.Init.ClockDivision = TIM_CLOCKDIVISION_DIV1;
  htim16.Init.RepetitionCounter = 0;
  htim16.Init.AutoReloadPreload = TIM_AUTORELOAD_PRELOAD_DISABLE;
  if (HAL_TIM_Base_Init(&htim16) != HAL_OK)
  {
    Error_Handler();
  }
  if (HAL_TIM_PWM_Init(&htim16) != HAL_OK)
  {
    Error_Handler();
  }
  sConfigOC.OCMode = TIM_OCMODE_PWM1;
  sConfigOC.Pulse = 0;
  sConfigOC.OCPolarity = TIM_OCPOLARITY_HIGH;
  sConfigOC.OCNPolarity = TIM_OCNPOLARITY_HIGH;
  sConfigOC.OCFastMode = TIM_OCFAST_DISABLE;
  sConfigOC.OCIdleState = TIM_OCIDLESTATE_RESET;
  sConfigOC.OCNIdleState = TIM_OCNIDLESTATE_RESET;
  if (HAL_TIM_PWM_ConfigChannel(&htim16, &sConfigOC, TIM_CHANNEL_1) != HAL_OK)
  {
    Error_Handler();
  }
  sBreakDeadTimeConfig.OffStateRunMode = TIM_OSSR_DISABLE;
  sBreakDeadTimeConfig.OffStateIDLEMode = TIM_OSSI_DISABLE;
  sBreakDeadTimeConfig.LockLevel = TIM_LOCKLEVEL_OFF;
  sBreakDeadTimeConfig.DeadTime = 0;
  sBreakDeadTimeConfig.BreakState = TIM_BREAK_DISABLE;
  sBreakDeadTimeConfig.BreakPolarity = TIM_BREAKPOLARITY_HIGH;
  sBreakDeadTimeConfig.BreakFilter = 0;
  sBreakDeadTimeConfig.AutomaticOutput = TIM_AUTOMATICOUTPUT_DISABLE;
  if (HAL_TIMEx_ConfigBreakDeadTime(&htim16, &sBreakDeadTimeConfig) != HAL_OK)
  {
    Error_Handler();
  }
  HAL_TIM_MspPostInit(&htim16);

}

static void MX_TIM17_Init(void)
{

  TIM_OC_InitTypeDef sConfigOC = {0};
  TIM_BreakDeadTimeConfigTypeDef sBreakDeadTimeConfig = {0};

  htim17.Instance = TIM17;
  htim17.Init.Prescaler = 0;
  htim17.Init.CounterMode = TIM_COUNTERMODE_UP;
  htim17.Init.Period = 99;
  htim17.Init.ClockDivision = TIM_CLOCKDIVISION_DIV1;
  htim17.Init.RepetitionCounter = 0;
  htim17.Init.AutoReloadPreload = TIM_AUTORELOAD_PRELOAD_DISABLE;
  if (HAL_TIM_Base_Init(&htim17) != HAL_OK)
  {
    Error_Handler();
  }
  if (HAL_TIM_PWM_Init(&htim17) != HAL_OK)
  {
    Error_Handler();
  }
  sConfigOC.OCMode = TIM_OCMODE_PWM1;
  sConfigOC.Pulse = 0;
  sConfigOC.OCPolarity = TIM_OCPOLARITY_HIGH;
  sConfigOC.OCNPolarity = TIM_OCNPOLARITY_HIGH;
  sConfigOC.OCFastMode = TIM_OCFAST_DISABLE;
  sConfigOC.OCIdleState = TIM_OCIDLESTATE_RESET;
  sConfigOC.OCNIdleState = TIM_OCNIDLESTATE_RESET;
  if (HAL_TIM_PWM_ConfigChannel(&htim17, &sConfigOC, TIM_CHANNEL_1) != HAL_OK)
  {
    Error_Handler();
  }
  sBreakDeadTimeConfig.OffStateRunMode = TIM_OSSR_DISABLE;
  sBreakDeadTimeConfig.OffStateIDLEMode = TIM_OSSI_DISABLE;
  sBreakDeadTimeConfig.LockLevel = TIM_LOCKLEVEL_OFF;
  sBreakDeadTimeConfig.DeadTime = 0;
  sBreakDeadTimeConfig.BreakState = TIM_BREAK_DISABLE;
  sBreakDeadTimeConfig.BreakPolarity = TIM_BREAKPOLARITY_HIGH;
  sBreakDeadTimeConfig.BreakFilter = 0;
  sBreakDeadTimeConfig.AutomaticOutput = TIM_AUTOMATICOUTPUT_DISABLE;
  if (HAL_TIMEx_ConfigBreakDeadTime(&htim17, &sBreakDeadTimeConfig) != HAL_OK)
  {
    Error_Handler();
  }
  HAL_TIM_MspPostInit(&htim17);

}

static void MX_DMA_Init(void)
{

  /* DMA controller clock enable */
  __HAL_RCC_DMAMUX1_CLK_ENABLE();
  __HAL_RCC_DMA1_CLK_ENABLE();

  /* DMA interrupt init */
  /* DMA1_Channel1_IRQn interrupt configuration */
  HAL_NVIC_SetPriority(DMA1_Channel1_IRQn, 0, 0);
  HAL_NVIC_EnableIRQ(DMA1_Channel1_IRQn);
  /* DMA1_Channel2_IRQn interrupt configuration */
  HAL_NVIC_SetPriority(DMA1_Channel2_IRQn, 0, 0);
  HAL_NVIC_EnableIRQ(DMA1_Channel2_IRQn);
  /* DMA1_Channel3_IRQn interrupt configuration */
  HAL_NVIC_SetPriority(DMA1_Channel3_IRQn, 0, 0);
  HAL_NVIC_EnableIRQ(DMA1_Channel3_IRQn);

}

static void MX_GPIO_Init(void)
{
  GPIO_InitTypeDef GPIO_InitStruct = {0};

  /* GPIO Ports Clock Enable */
  __HAL_RCC_GPIOC_CLK_ENABLE();
  __HAL_RCC_GPIOF_CLK_ENABLE();
  __HAL_RCC_GPIOA_CLK_ENABLE();
  __HAL_RCC_GPIOB_CLK_ENABLE();

  /*Configure GPIO pin Output Level */
  HAL_GPIO_WritePin(GPIOC, CS_Pin_Pin|USER_LD1_Pin|FAULT_LED_Pin|MUXA_S3_Pin
                          |DO2_Pin|MUXB_S0_Pin|MUXC_S0_Pin, GPIO_PIN_RESET);

  /*Configure GPIO pin Output Level */
  HAL_GPIO_WritePin(GPIOB, MUXA_S0_Pin|MUXA_S1_Pin|MUXA_S2_Pin|DEBUG_LD1_Pin
                          |DEBUG_LD2_Pin|DEBUG_LD3_Pin|DO1_Pin, GPIO_PIN_RESET);

  /*Configure GPIO pin Output Level */
  HAL_GPIO_WritePin(MUX_En_GPIO_Port, MUX_En_Pin, GPIO_PIN_RESET);

  /*Configure GPIO pins : CS_Pin_Pin USER_LD1_Pin FAULT_LED_Pin MUXA_S3_Pin
                           DO2_Pin MUXB_S0_Pin MUXC_S0_Pin */
  GPIO_InitStruct.Pin = CS_Pin_Pin|USER_LD1_Pin|FAULT_LED_Pin|MUXA_S3_Pin
                          |DO2_Pin|MUXB_S0_Pin|MUXC_S0_Pin;
  GPIO_InitStruct.Mode = GPIO_MODE_OUTPUT_PP;
  GPIO_InitStruct.Pull = GPIO_NOPULL;
  GPIO_InitStruct.Speed = GPIO_SPEED_FREQ_LOW;
  HAL_GPIO_Init(GPIOC, &GPIO_InitStruct);

  /*Configure GPIO pins : DI2_Pin DI1_Pin */
  GPIO_InitStruct.Pin = DI2_Pin|DI1_Pin;
  GPIO_InitStruct.Mode = GPIO_MODE_INPUT;
  GPIO_InitStruct.Pull = GPIO_NOPULL;
  HAL_GPIO_Init(GPIOC, &GPIO_InitStruct);

  /*Configure GPIO pins : MUXA_S0_Pin MUXA_S1_Pin MUXA_S2_Pin DEBUG_LD1_Pin
                           DEBUG_LD2_Pin DEBUG_LD3_Pin DO1_Pin */
  GPIO_InitStruct.Pin = MUXA_S0_Pin|MUXA_S1_Pin|MUXA_S2_Pin|DEBUG_LD1_Pin
                          |DEBUG_LD2_Pin|DEBUG_LD3_Pin|DO1_Pin;
  GPIO_InitStruct.Mode = GPIO_MODE_OUTPUT_PP;
  GPIO_InitStruct.Pull = GPIO_NOPULL;
  GPIO_InitStruct.Speed = GPIO_SPEED_FREQ_LOW;
  HAL_GPIO_Init(GPIOB, &GPIO_InitStruct);

  /*Configure GPIO pin : LIMIT_SW2_Pin */
  GPIO_InitStruct.Pin = LIMIT_SW2_Pin;
  GPIO_InitStruct.Mode = GPIO_MODE_IT_RISING;
  GPIO_InitStruct.Pull = GPIO_PULLDOWN;
  HAL_GPIO_Init(LIMIT_SW2_GPIO_Port, &GPIO_InitStruct);

  /*Configure GPIO pin : LIMIT_SW1_Pin */
  GPIO_InitStruct.Pin = LIMIT_SW1_Pin;
  GPIO_InitStruct.Mode = GPIO_MODE_IT_RISING;
  GPIO_InitStruct.Pull = GPIO_PULLDOWN;
  HAL_GPIO_Init(LIMIT_SW1_GPIO_Port, &GPIO_InitStruct);

  /*Configure GPIO pin : DI3_Pin */
  GPIO_InitStruct.Pin = DI3_Pin;
  GPIO_InitStruct.Mode = GPIO_MODE_INPUT;
  GPIO_InitStruct.Pull = GPIO_NOPULL;
  HAL_GPIO_Init(DI3_GPIO_Port, &GPIO_InitStruct);

  /*Configure GPIO pin : MUX_En_Pin */
  GPIO_InitStruct.Pin = MUX_En_Pin;
  GPIO_InitStruct.Mode = GPIO_MODE_OUTPUT_PP;
  GPIO_InitStruct.Pull = GPIO_NOPULL;
  GPIO_InitStruct.Speed = GPIO_SPEED_FREQ_LOW;
  HAL_GPIO_Init(MUX_En_GPIO_Port, &GPIO_InitStruct);

  /*Configure GPIO pins : DI4_Pin DI6_Pin DI5_Pin */
  GPIO_InitStruct.Pin = DI4_Pin|DI6_Pin|DI5_Pin;
  GPIO_InitStruct.Mode = GPIO_MODE_INPUT;
  GPIO_InitStruct.Pull = GPIO_NOPULL;
  HAL_GPIO_Init(GPIOB, &GPIO_InitStruct);

  /* EXTI interrupt init*/
  HAL_NVIC_SetPriority(EXTI9_5_IRQn, 0, 0);
  HAL_NVIC_EnableIRQ(EXTI9_5_IRQn);

  HAL_NVIC_SetPriority(EXTI15_10_IRQn, 0, 0);
  HAL_NVIC_EnableIRQ(EXTI15_10_IRQn);

}

void Error_Handler(void)
{
  /* USER CODE BEGIN Error_Handler_Debug */
	// DSX Fault Handler, returns SOS message to send to simulink
	DSX_Fault_Handler(state);
	HAL_Delay(20);

	/* User can add his own implementation to report the HAL error return state */
	__disable_irq();

	// Turn on front panel fault led
	HAL_GPIO_WritePin(FAULT_LED_GPIO_Port, FAULT_LED_Pin, 1);

	// Disable all outputs
	updateDutyCycle(htim16, 0);	// Disable PWM
    updateDutyCycle(htim17, 0); // Disable PWM
    HAL_GPIO_WritePin(DO1_GPIO_Port, DO1_Pin, 0); // Reset DO1
    HAL_GPIO_WritePin(DO2_GPIO_Port, DO2_Pin, 0); // Reset DO2
    DAC_write(2048, DAC1_CHANNEL_1); // Reset AO1
    DAC_write(2048, DAC1_CHANNEL_2); // Reset AO2

	// Update debug LED
	update_debug_leds(state);

	while (1) {}
  /* USER CODE END Error_Handler_Debug */
}

/************************ (C) COPYRIGHT STMicroelectronics *****END OF FILE****/
